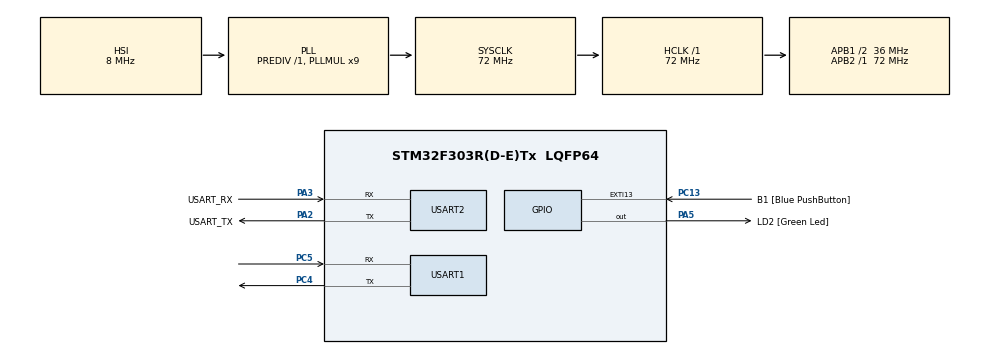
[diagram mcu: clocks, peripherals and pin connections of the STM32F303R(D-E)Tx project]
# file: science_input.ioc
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Mcu.Family=STM32F3
Mcu.Name=STM32F303R(D-E)Tx
Mcu.Package=LQFP64
NVIC.PriorityGroup=NVIC_PRIORITYGROUP_0
NVIC.USART1_IRQn=true\:0\:0\:false\:false\:true\:true
NVIC.USART2_IRQn=true\:0\:0\:false\:false\:true\:true
PA13.GPIO_Label=TMS
PA13.Mode=Serial_Wire
PA13.Signal=SYS_JTMS-SWDIO
PA14.GPIO_Label=TCK
PA14.Mode=Serial_Wire
PA14.Signal=SYS_JTCK-SWCLK
PA2.GPIO_Label=USART_TX
PA2.GPIO_Mode=GPIO_MODE_AF_PP
PA2.GPIO_PuPd=GPIO_NOPULL
PA2.GPIO_Speed=GPIO_SPEED_FREQ_LOW
PA2.Mode=Asynchronous
PA2.Signal=USART2_TX
PA3.GPIO_Label=USART_RX
PA3.GPIO_Mode=GPIO_MODE_AF_PP
PA3.GPIO_PuPd=GPIO_NOPULL
PA3.GPIO_Speed=GPIO_SPEED_FREQ_LOW
PA3.Mode=Asynchronous
PA3.Signal=USART2_RX
PA5.GPIO_Label=LD2 [Green Led]
PA5.GPIO_Mode=GPIO_MODE_OUTPUT_PP
PA5.GPIO_PuPd=GPIO_NOPULL
PA5.GPIO_Speed=GPIO_SPEED_FREQ_LOW
PA5.Signal=GPIO_Output
PB3.GPIO_Label=SWO
PB3.Signal=SYS_JTDO-TRACESWO
PC13.GPIO_Label=B1 [Blue PushButton]
PC13.GPIO_ModeDefaultEXTI=GPIO_MODE_IT_FALLING
PC13.Signal=GPXTI13
PC14-OSC32_IN.Mode=LSE-External-Oscillator
PC14-OSC32_IN.Signal=RCC_OSC32_IN
PC15-OSC32_OUT.Mode=LSE-External-Oscillator
PC15-OSC32_OUT.Signal=RCC_OSC32_OUT
PC4.Mode=Asynchronous
PC4.Signal=USART1_TX
PC5.Mode=Asynchronous
PC5.Signal=USART1_RX
PF0-OSC_IN.Mode=HSE-External-Clock-Source
PF0-OSC_IN.Signal=RCC_OSC_IN
PF1-OSC_OUT.Signal=RCC_OSC_OUT
ProjectManager.HeapSize=0x200
ProjectManager.StackSize=0x400
ProjectManager.TargetToolchain=EWARM V8
RCC.AHBFreq_Value=72000000
RCC.APB1CLKDivider=RCC_HCLK_DIV2
RCC.APB1Freq_Value=36000000
RCC.APB1TimFreq_Value=72000000
RCC.APB2Freq_Value=72000000
RCC.APB2TimFreq_Value=72000000
RCC.CortexFreq_Value=72000000
RCC.HCLKFreq_Value=72000000
RCC.HSE_VALUE=8000000
RCC.HSI_VALUE=8000000
RCC.PLLM=8
RCC.PLLMUL=RCC_PLL_MUL9
RCC.PLLN=336
RCC.PLLP=RCC_PLLP_DIV4
RCC.PLLQ=7
RCC.RCC_PLLsource_Clock_Source_FROM_HSE=RCC_HSE_PREDIV_DIV2
RCC.SYSCLKFreq_VALUE=72000000
RCC.SYSCLKSourceVirtual=RCC_SYSCLKSOURCE_PLLCLK
RCC.USBFreq_Value=72000000
USART1.VirtualMode-Asynchronous=VM_ASYNC
USART2.VirtualMode-Asynchronous=VM_ASYNC
board=NUCLEO-F303RE

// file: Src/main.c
/* USER CODE BEGIN Header */
/**
  ******************************************************************************
  * @file           : main.c
  * @brief          : Main program body
  ******************************************************************************
  ** This notice applies to any and all portions of this file
  * that are not between comment pairs USER CODE BEGIN and
  * USER CODE END. Other portions of this file, whether
  * inserted by the user or by software development tools
  * are owned by their respective copyright owners.
  *
  * COPYRIGHT(c) 2019 STMicroelectronics
  *
  * Redistribution and use in source and binary forms, with or without modification,
  * are permitted provided that the following conditions are met:
  *   1. Redistributions of source code must retain the above copyright notice,
  *      this list of conditions and the following disclaimer.
  *   2. Redistributions in binary form must reproduce the above copyright notice,
  *      this list of conditions and the following disclaimer in the documentation
  *      and/or other materials provided with the distribution.
  *   3. Neither the name of STMicroelectronics nor the names of its contributors
  *      may be used to endorse or promote products derived from this software
  *      without specific prior written permission.
  *
  * THIS SOFTWARE IS PROVIDED BY THE COPYRIGHT HOLDERS AND CONTRIBUTORS "AS IS"
  * AND ANY EXPRESS OR IMPLIED WARRANTIES, INCLUDING, BUT NOT LIMITED TO, THE
  * IMPLIED WARRANTIES OF MERCHANTABILITY AND FITNESS FOR A PARTICULAR PURPOSE ARE
  * DISCLAIMED. IN NO EVENT SHALL THE COPYRIGHT HOLDER OR CONTRIBUTORS BE LIABLE
  * FOR ANY DIRECT, INDIRECT, INCIDENTAL, SPECIAL, EXEMPLARY, OR CONSEQUENTIAL
  * DAMAGES (INCLUDING, BUT NOT LIMITED TO, PROCUREMENT OF SUBSTITUTE GOODS OR
  * SERVICES; LOSS OF USE, DATA, OR PROFITS; OR BUSINESS INTERRUPTION) HOWEVER
  * CAUSED AND ON ANY THEORY OF LIABILITY, WHETHER IN CONTRACT, STRICT LIABILITY,
  * OR TORT (INCLUDING NEGLIGENCE OR OTHERWISE) ARISING IN ANY WAY OUT OF THE USE
  * OF THIS SOFTWARE, EVEN IF ADVISED OF THE POSSIBILITY OF SUCH DAMAGE.
  *
  ******************************************************************************
  */
/* USER CODE END Header */

#include "../Inc/main.h"
/* USER CODE BEGIN Includes */
#include "minmea-master/minmea.h"
#include "math.h"
#include "../Inc/libcanard/canard.h"
#include "../Inc/libcanard/drivers/stm32/canard_stm32.h"
#include "libcanard_wrapper.h"
#include "../Inc/libcanard_dsdlc_generated/uavcan/equipment/gnss/Fix2.h"
/* USER CODE END Includes */

/* USER CODE BEGIN PTD */
#define LINEMAX 200 // Maximal allowed/expected line length
#define USART_GPS USART1
#define USART_GPS_IRQn USART1_IRQn
#define USART_GPS_IRQHandler USART1_IRQHandler
#define ONEe8 100000000
#define INDENT_SPACES "  "
/* USER CODE END PTD */

/* USER CODE BEGIN PD */
#define CLOCK_RATE 8000000
#define CAN_RATE 250000

/* USER CODE END PD */

UART_HandleTypeDef huart1;
UART_HandleTypeDef huart2;

/* USER CODE BEGIN PV */
static char gpsBuffer[LINEMAX + 1];
uavcan_equipment_gnss_Fix2 gpsData;
uint8_t gpsMsgBuffer[UAVCAN_EQUIPMENT_GNSS_FIX2_MAX_SIZE];
uint32_t inout_transfer_id;
/* USER CODE END PV */

void SystemClock_Config(void);
static void MX_GPIO_Init(void);
static void MX_USART2_UART_Init(void);
static void MX_USART1_UART_Init(void);
/* USER CODE BEGIN PFP */
void USART_GPS_IRQHandler(void);
void gps_parse_buffer(void);
void gps_send_frame(void);
void on_reception(CanardInstance* ins,                		///< Library instance
                        CanardRxTransfer* transfer);
bool should_accept(const CanardInstance* ins,         		///< Library instance
                        uint64_t* out_data_type_signature,  ///< Must be set by the application!
                        uint16_t data_type_id,              ///< Refer to the specification
						CanardTransferType transfer_type,   ///< Refer to CanardTransferType
                        uint8_t source_node_id);            ///< Source node ID or Broadcast (0)
/* USER CODE END PFP */

/* USER CODE BEGIN 0 */
// Written by Clive Two.Zero found from https://community.st.com/s/feed/0D50X00009XkVxKSAV
void USART_GPS_IRQHandler(void) // Sync and Queue NMEA Sentences
{
	__disable_irq();
	static int rx_index = 0;
	if (USART_GPS->ISR & USART_ISR_ORE) // Overrun Error
		USART_GPS->ICR = USART_ICR_ORECF;
	if (USART_GPS->ISR & USART_ISR_NE) // Noise Error
		USART_GPS->ICR = USART_ICR_NCF;
	if (USART_GPS->ISR & USART_ISR_FE) // Framing Error
		USART_GPS->ICR = USART_ICR_FECF;
	if (USART_GPS->ISR & USART_ISR_RXNE) // Received character?
	{
		char rx = (char)(USART_GPS->RDR & 0xFF);
		if ((rx == '\r') || (rx == '\n')) // Is this an end-of-line condition, either will suffice?
		{
			if (rx_index != 0) // Line has some content?
			{
				gpsBuffer[rx_index++] = 0; // Add NUL if required down stream
				QueueBuffer(gpsBuffer, rx_index); // Copy to queue from live dynamic receive buffer
				rx_index = 0; // Reset content pointer
			}
		}
		else
		{
			if ((rx == '$') || (rx_index == LINEMAX)) // If resync or overflows pull back to start
				rx_index = 0;
			gpsBuffer[rx_index++] = rx; // Copy to buffer and increment
		}
	}
	__enable_irq();
}

void gps_parse_buffer(void)
{
	switch (minmea_sentence_id(gpsBuffer, false))
    {
		case MINMEA_SENTENCE_RMC:
		{
			struct minmea_sentence_rmc frame;
		    if (minmea_parse_rmc(&frame, gpsBuffer))
		    {
		    	gpsData.longitude_deg_1e8 = frame.longitude.value / frame.longitude.scale * ONEe8;
		    	gpsData.latitude_deg_1e8 = frame.latitude.value / frame.latitude.scale * ONEe8;
		    	gpsData.ned_velocity[0] = frame.speed.value / frame.speed.scale * cos(frame.course);
		    	gpsData.ned_velocity[1] = frame.speed.value / frame.speed.scale * sin(frame.course);
		    	gpsData.ned_velocity[2] = 0;
		    	gpsData.gnss_time_standard = frame.time.hours * 10000 + frame.time.minutes * 100 + frame.time.seconds;
		    }
		    else
		    {
		        printf(INDENT_SPACES "$xxRMC sentence is not parsed\n");
		    }
		} break;

        case MINMEA_SENTENCE_GGA: {
            struct minmea_sentence_gga frame;
            if (minmea_parse_gga(&frame, gpsBuffer))
            {
            // TODO: fix quality msg?
            }
            else
            {
            	printf(INDENT_SPACES "$xxGGA sentence is not parsed\n");
	        }
	    } break;

        case MINMEA_INVALID:
        {
            printf(INDENT_SPACES "$xxxxx sentence is not valid\n");
        } break;

        default:
        {
            printf(INDENT_SPACES "$xxxxx sentence is not parsed\n");
        } break;
	}
}

void gps_send_frame(void) {
	// init msg datatype
	// encode gpsData with function
	uint8_t len = uavcan_equipment_gnss_Fix2_encode(&gpsData, gpsMsgBuffer);
	// broadcast
	canardBroadcast(&m_canard_instance,
			UAVCAN_EQUIPMENT_GNSS_FIX2_SIGNATURE,
			UAVCAN_EQUIPMENT_GNSS_FIX2_ID,
				&inout_transfer_id,
				0,
				gpsMsgBuffer,
				len);
}

void on_reception(CanardInstance* ins,                		///< Library instance
                        CanardRxTransfer* transfer)
{
	// do nothing
	return;
}

bool should_accept(const CanardInstance* ins,         		///< Library instance
                        uint64_t* out_data_type_signature,  ///< Must be set by the application!
                        uint16_t data_type_id,              ///< Refer to the specification
						CanardTransferType transfer_type,   ///< Refer to CanardTransferType
                        uint8_t source_node_id)             ///< Source node ID or Broadcast (0)
{
	return false;
}

/* USER CODE END 0 */

int main(void)
{

  /* MCU Configuration--------------------------------------------------------*/

  /* Reset of all peripherals, Initializes the Flash interface and the Systick. */
  HAL_Init();

  /* Configure the system clock */
  SystemClock_Config();

  /* Initialize all configured peripherals */
  MX_GPIO_Init();
  MX_USART2_UART_Init();
  MX_USART1_UART_Init();
  /* USER CODE BEGIN 2 */
  libcanard_init(on_reception, should_accept, CLOCK_RATE, CAN_RATE);

  /* USER CODE END 2 */

  /* Infinite loop */
  while (1)
  {

    /* USER CODE BEGIN 3 */
	  if (strcmp(gpsBuffer[0], '0') != 0)
	  {
		  gps_parse_buffer();
		  gps_send_frame();
	  }
  }
  /* USER CODE END 3 */
}

void SystemClock_Config(void)
{
  RCC_OscInitTypeDef RCC_OscInitStruct = {0};
  RCC_ClkInitTypeDef RCC_ClkInitStruct = {0};
  RCC_PeriphCLKInitTypeDef PeriphClkInit = {0};

  /**Initializes the CPU, AHB and APB busses clocks
  */
  RCC_OscInitStruct.OscillatorType = RCC_OSCILLATORTYPE_HSI;
  RCC_OscInitStruct.HSIState = RCC_HSI_ON;
  RCC_OscInitStruct.HSICalibrationValue = RCC_HSICALIBRATION_DEFAULT;
  RCC_OscInitStruct.PLL.PLLState = RCC_PLL_ON;
  RCC_OscInitStruct.PLL.PLLSource = RCC_PLLSOURCE_HSI;
  RCC_OscInitStruct.PLL.PLLMUL = RCC_PLL_MUL9;
  RCC_OscInitStruct.PLL.PREDIV = RCC_PREDIV_DIV1;
  if (HAL_RCC_OscConfig(&RCC_OscInitStruct) != HAL_OK)
  {
    Error_Handler();
  }
  /**Initializes the CPU, AHB and APB busses clocks
  */
  RCC_ClkInitStruct.ClockType = RCC_CLOCKTYPE_HCLK|RCC_CLOCKTYPE_SYSCLK
                              |RCC_CLOCKTYPE_PCLK1|RCC_CLOCKTYPE_PCLK2;
  RCC_ClkInitStruct.SYSCLKSource = RCC_SYSCLKSOURCE_PLLCLK;
  RCC_ClkInitStruct.AHBCLKDivider = RCC_SYSCLK_DIV1;
  RCC_ClkInitStruct.APB1CLKDivider = RCC_HCLK_DIV2;
  RCC_ClkInitStruct.APB2CLKDivider = RCC_HCLK_DIV1;

  if (HAL_RCC_ClockConfig(&RCC_ClkInitStruct, FLASH_LATENCY_2) != HAL_OK)
  {
    Error_Handler();
  }
  PeriphClkInit.PeriphClockSelection = RCC_PERIPHCLK_USART1|RCC_PERIPHCLK_USART2;
  PeriphClkInit.Usart1ClockSelection = RCC_USART1CLKSOURCE_PCLK2;
  PeriphClkInit.Usart2ClockSelection = RCC_USART2CLKSOURCE_PCLK1;
  if (HAL_RCCEx_PeriphCLKConfig(&PeriphClkInit) != HAL_OK)
  {
    Error_Handler();
  }
}

static void MX_USART1_UART_Init(void)
{

  huart1.Instance = USART1;
  huart1.Init.BaudRate = 4800;
  huart1.Init.WordLength = UART_WORDLENGTH_8B;
  huart1.Init.StopBits = UART_STOPBITS_1;
  huart1.Init.Parity = UART_PARITY_NONE;
  huart1.Init.Mode = UART_MODE_TX_RX;
  huart1.Init.HwFlowCtl = UART_HWCONTROL_NONE;
  huart1.Init.OverSampling = UART_OVERSAMPLING_16;
  huart1.Init.OneBitSampling = UART_ONE_BIT_SAMPLE_DISABLE;
  huart1.AdvancedInit.AdvFeatureInit = UART_ADVFEATURE_NO_INIT;
  if (HAL_UART_Init(&huart1) != HAL_OK)
  {
    Error_Handler();
  }
  /* USER CODE BEGIN USART1_Init 2 */
  NVIC_EnableIQR(USART1_IRQn);
  HAL_NVIC_SetPriority(GPS_USART_IRQn, 1, 0);
  USART_GPS->CR1 |= USART_CR1_RXNEIE; // Enable Interrupt
  /* USER CODE END USART1_Init 2 */

}

static void MX_USART2_UART_Init(void)
{

  huart2.Instance = USART2;
  huart2.Init.BaudRate = 38400;
  huart2.Init.WordLength = UART_WORDLENGTH_8B;
  huart2.Init.StopBits = UART_STOPBITS_1;
  huart2.Init.Parity = UART_PARITY_NONE;
  huart2.Init.Mode = UART_MODE_TX_RX;
  huart2.Init.HwFlowCtl = UART_HWCONTROL_NONE;
  huart2.Init.OverSampling = UART_OVERSAMPLING_16;
  huart2.Init.OneBitSampling = UART_ONE_BIT_SAMPLE_DISABLE;
  huart2.AdvancedInit.AdvFeatureInit = UART_ADVFEATURE_NO_INIT;
  if (HAL_UART_Init(&huart2) != HAL_OK)
  {
    Error_Handler();
  }
  /* USER CODE BEGIN USART2_Init 2 */
  VIC_EnableIQR(USART2_IRQn);
  /* USER CODE END USART2_Init 2 */

}

static void MX_GPIO_Init(void)
{
  GPIO_InitTypeDef GPIO_InitStruct = {0};

  /* GPIO Ports Clock Enable */
  __HAL_RCC_GPIOC_CLK_ENABLE();
  __HAL_RCC_GPIOF_CLK_ENABLE();
  __HAL_RCC_GPIOA_CLK_ENABLE();
  __HAL_RCC_GPIOB_CLK_ENABLE();

  /*Configure GPIO pin Output Level */
  HAL_GPIO_WritePin(LD2_GPIO_Port, LD2_Pin, GPIO_PIN_RESET);

  /*Configure GPIO pin : B1_Pin */
  GPIO_InitStruct.Pin = B1_Pin;
  GPIO_InitStruct.Mode = GPIO_MODE_IT_FALLING;
  GPIO_InitStruct.Pull = GPIO_NOPULL;
  HAL_GPIO_Init(B1_GPIO_Port, &GPIO_InitStruct);

  /*Configure GPIO pin : LD2_Pin */
  GPIO_InitStruct.Pin = LD2_Pin;
  GPIO_InitStruct.Mode = GPIO_MODE_OUTPUT_PP;
  GPIO_InitStruct.Pull = GPIO_NOPULL;
  GPIO_InitStruct.Speed = GPIO_SPEED_FREQ_LOW;
  HAL_GPIO_Init(LD2_GPIO_Port, &GPIO_InitStruct);

}

void Error_Handler(void)
{
}

/************************ (C) COPYRIGHT STMicroelectronics *****END OF FILE****/
